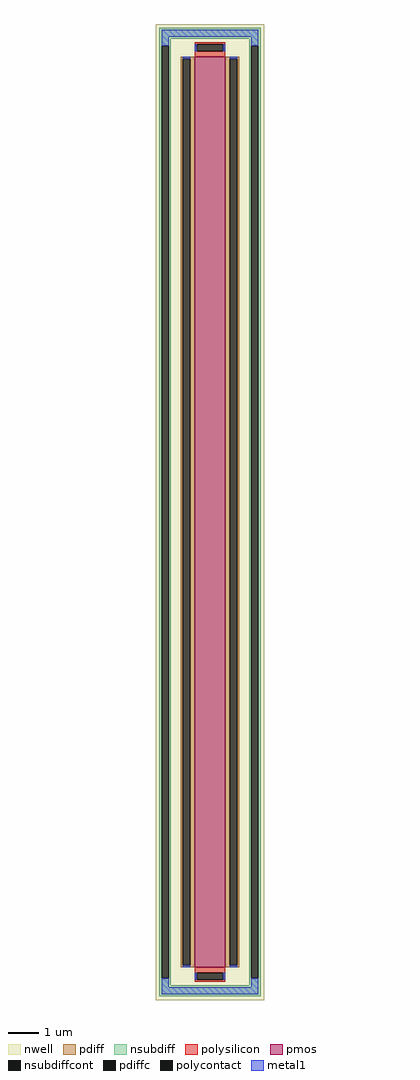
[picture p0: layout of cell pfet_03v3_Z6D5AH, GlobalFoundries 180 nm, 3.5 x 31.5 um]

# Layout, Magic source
magic
tech gf180mcuD
magscale 1 10
<< nwell >>
rect -350 -3150 350 3150
<< pmos >>
rect -100 -2940 100 2940
<< pdiff >>
rect -188 2927 -100 2940
rect -188 -2927 -175 2927
rect -129 -2927 -100 2927
rect -188 -2940 -100 -2927
rect 100 2927 188 2940
rect 100 -2927 129 2927
rect 175 -2927 188 2927
rect 100 -2940 188 -2927
<< pdiffc >>
rect -175 -2927 -129 2927
rect 129 -2927 175 2927
<< nsubdiff >>
rect -326 3054 326 3126
rect -326 3010 -254 3054
rect -326 -3010 -313 3010
rect -267 -3010 -254 3010
rect 254 3010 326 3054
rect -326 -3054 -254 -3010
rect 254 -3010 267 3010
rect 313 -3010 326 3010
rect 254 -3054 326 -3010
rect -326 -3126 326 -3054
<< nsubdiffcont >>
rect -313 -3010 -267 3010
rect 267 -3010 313 3010
<< polysilicon >>
rect -100 3019 100 3032
rect -100 2973 -87 3019
rect 87 2973 100 3019
rect -100 2940 100 2973
rect -100 -2973 100 -2940
rect -100 -3019 -87 -2973
rect 87 -3019 100 -2973
rect -100 -3032 100 -3019
<< polycontact >>
rect -87 2973 87 3019
rect -87 -3019 87 -2973
<< metal1 >>
rect -313 3067 313 3113
rect -313 3010 -267 3067
rect -98 2973 -87 3019
rect 87 2973 98 3019
rect 267 3010 313 3067
rect -175 2927 -129 2938
rect -175 -2938 -129 -2927
rect 129 2927 175 2938
rect 129 -2938 175 -2927
rect -313 -3067 -267 -3010
rect -98 -3019 -87 -2973
rect 87 -3019 98 -2973
rect 267 -3067 313 -3010
rect -313 -3113 313 -3067
<< properties >>
string FIXED_BBOX -290 -3090 290 3090
string gencell pfet_03v3
string library gf180mcu
string parameters w 29.4 l 1.0 m 1 nf 1 diffcov 100 polycov 100 guard 1 glc 1 grc 1 gtc 0 gbc 0 tbcov 100 rlcov 100 topc 1 botc 1 poverlap 0 doverlap 1 lmin 0.28 wmin 0.22 class mosfet full_metal 1 compatible {pfet_03v3 pfet_05v0 pfet_06v0} ad {int((nf+1)/2) * W/nf * 0.18u} as {int((nf+2)/2) * W/nf * 0.18u} pd {2*int((nf+1)/2) * (W/nf + 0.18u)} ps {2*int((nf+2)/2) * (W/nf + 0.18u)} nrd {0.18u / W} nrs {0.18u / W} sa 0 sb 0 sd 0
<< end >>
